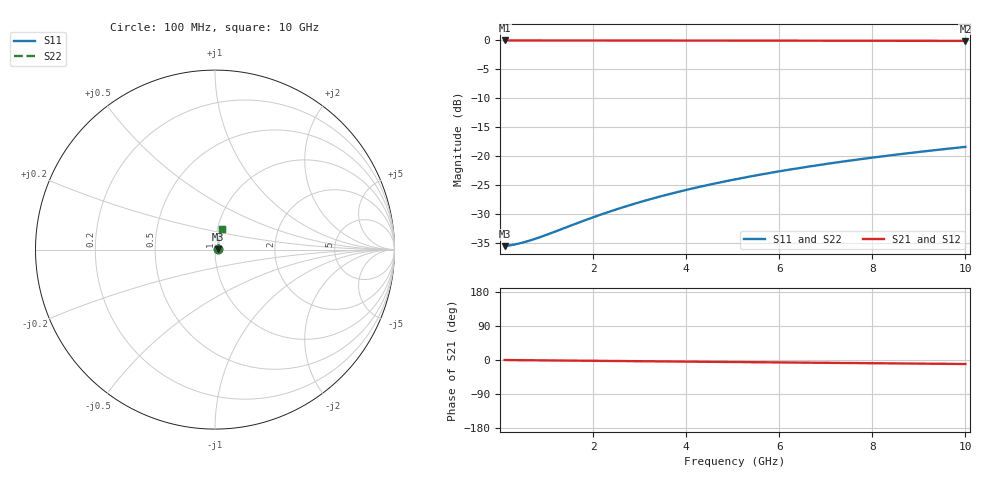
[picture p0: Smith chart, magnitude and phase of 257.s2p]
# Hz S RI R 50.00
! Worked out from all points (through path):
!   100 points, 100 MHz to 10 GHz, reference 50 ohm
!   highest |S21| = -0.15 dB at 100 MHz (marker M1); lowest = -0.2 dB at 10 GHz (marker M2)
!   group delay of S21, straight-line fit = 2.93 ps
!   lowest |S11| = -35.6 dB at 100 MHz (marker M3), VSWR 1.03, Z = 51.7 + j0.12 ohm
!   |S11| at or under -10 dB: start of sweep to end of sweep
!   |S22| runs from -35.6 to -18.5 dB; largest |S21 - S12| = 0
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1e8  0.0166 0.00116  0.9834 -0.00182  0.9834 -0.00182  0.0166 0.00116
3e8  0.0168 0.00348  0.9832 -0.00546  0.9832 -0.00546  0.0168 0.00348
4e8  0.0168 0.00464  0.9831 -0.00729  0.9831 -0.00729  0.0168 0.00464
5e8  0.0169 0.0058  0.9831 -0.00911  0.9831 -0.00911  0.0169 0.0058
7e8  0.0171 0.00811  0.9829 -0.0127  0.9829 -0.0127  0.0171 0.00811
1e9  0.0173 0.0116  0.9827 -0.0182  0.9827 -0.0182  0.0173 0.0116
1.8e9  0.018 0.0208  0.982 -0.0327  0.982 -0.0327  0.018 0.0208
2.2e9  0.0184 0.0254  0.9815 -0.04  0.9815 -0.04  0.0184 0.0254
2.6e9  0.0189 0.03  0.981 -0.0473  0.981 -0.0473  0.0189 0.03
3e9  0.0194 0.0346  0.9804 -0.0545  0.9804 -0.0545  0.0194 0.0346
3.4e9  0.02 0.0392  0.9797 -0.0617  0.9797 -0.0617  0.02 0.0392
3.8e9  0.0207 0.0438  0.979 -0.069  0.979 -0.069  0.0207 0.0438
4.2e9  0.0214 0.0484  0.9782 -0.0762  0.9782 -0.0762  0.0214 0.0484
4.6e9  0.0222 0.0529  0.9773 -0.0834  0.9773 -0.0834  0.0222 0.0529
5.1e9  0.0233 0.0586  0.9761 -0.0923  0.9761 -0.0923  0.0233 0.0586
5.5e9  0.0242 0.0631  0.9751 -0.0995  0.9751 -0.0995  0.0242 0.0631
5.9e9  0.0253 0.0676  0.9739 -0.1066  0.9739 -0.1066  0.0253 0.0676
6.7e9  0.0275 0.0765  0.9715 -0.1209  0.9715 -0.1209  0.0275 0.0765
7.5e9  0.0299 0.0854  0.9688 -0.135  0.9688 -0.135  0.0299 0.0854
8.4e9  0.033 0.0952  0.9654 -0.1509  0.9654 -0.1509  0.033 0.0952
9.2e9  0.036 0.1039  0.9621 -0.1648  0.9621 -0.1648  0.036 0.1039
1e10  0.0393 0.1124  0.9585 -0.1787  0.9585 -0.1787  0.0393 0.1124
